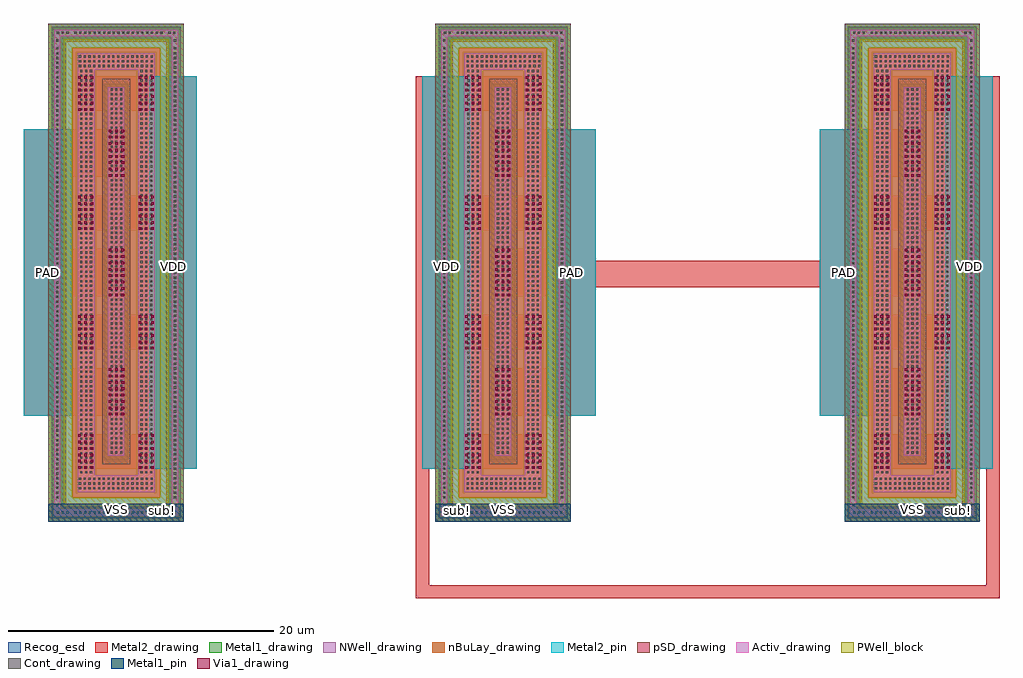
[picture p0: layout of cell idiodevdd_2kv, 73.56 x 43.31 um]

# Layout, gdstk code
import gdstk
lib = gdstk.Library(unit=1e-6, precision=1e-09)
def R(c, l, rs):  # rectangles x0, y0, x1, y1
    for r in rs: c.add(gdstk.rectangle(r[:2], r[2:], *l))
def A(c, l, x, y, w, h, nx, ny, dx, dy):  # array of equal rectangles
    R(c, l, [(x+i*dx, y+j*dy, x+i*dx+w, y+j*dy+h) for i in range(nx) for j in range(ny)])
def P(c, l, *ps):  # polygons
    for p in ps: c.add(gdstk.Polygon(p, *l))
Activ_drawing = (1, 0)
Cont_drawing = (6, 0)
Metal1_drawing = (8, 0)
Metal1_pin = (8, 2)
Metal2_drawing = (10, 0)
Metal2_pin = (10, 2)
pSD_drawing = (14, 0)
Via1_drawing = (19, 0)
NWell_drawing = (31, 0)
nBuLay_drawing = (32, 0)
PWell_block = (46, 21)
Recog_esd = (99, 30)

idiodevdd_2kv = lib.new_cell('idiodevdd_2kv')
R(idiodevdd_2kv, Activ_drawing, [(4.47,4.97,5.73,32.75), (33.637,4.97,34.897,32.75), (64.47,4.97,65.73,32.75)])
P(idiodevdd_2kv, Activ_drawing, [(31.357,2.22),(31.357,35.31),(37.147,35.31),(37.147,3.48),(35.887,3.48),(35.887,34.05),(32.617,34.05),(32.617,3.48),(37.147,3.48),(37.147,2.22)],
  [(29.587,0.45),(29.587,37.08),(38.947,37.08),(38.947,0.93),(38.467,0.93),(38.467,36.6),(30.067,36.6),(30.067,0.93),(38.947,0.93),(38.947,0.45)],
  [(62.22,2.22),(62.22,3.48),(66.75,3.48),(66.75,34.05),(63.48,34.05),(63.48,3.48),(62.22,3.48),(62.22,35.31),(68.01,35.31),(68.01,2.22)],
  [(60.42,0.45),(60.42,0.93),(69.3,0.93),(69.3,36.6),(60.9,36.6),(60.9,0.93),(60.42,0.93),(60.42,37.08),(69.78,37.08),(69.78,0.45)],
  [(2.22,2.22),(2.22,3.48),(6.75,3.48),(6.75,34.05),(3.48,34.05),(3.48,3.48),(2.22,3.48),(2.22,35.31),(8.01,35.31),(8.01,2.22)],
  [(0.42,0.45),(0.42,0.93),(9.3,0.93),(9.3,36.6),(0.9,36.6),(0.9,0.93),(0.42,0.93),(0.42,37.08),(9.78,37.08),(9.78,0.45)])
A(idiodevdd_2kv, Cont_drawing, 0.64, 0.61, 0.16, 0.16, 3, 2, 0.36, 36.15)
A(idiodevdd_2kv, Cont_drawing, 1.96, 0.61, 0.16, 0.16, 18, 1, 0.36, 0)
A(idiodevdd_2kv, Cont_drawing, 8.68, 0.61, 0.16, 0.16, 3, 1, 0.36, 0)
A(idiodevdd_2kv, Cont_drawing, 29.807, 0.61, 0.16, 0.16, 3, 1, 0.36, 0)
A(idiodevdd_2kv, Cont_drawing, 31.127, 0.61, 0.16, 0.16, 18, 1, 0.36, 0)
A(idiodevdd_2kv, Cont_drawing, 37.847, 0.61, 0.16, 0.16, 3, 2, 0.36, 36.15)
A(idiodevdd_2kv, Cont_drawing, 60.64, 0.61, 0.16, 0.16, 3, 2, 0.36, 36.15)
A(idiodevdd_2kv, Cont_drawing, 61.96, 0.61, 0.16, 0.16, 18, 1, 0.36, 0)
A(idiodevdd_2kv, Cont_drawing, 68.68, 0.61, 0.16, 0.16, 3, 1, 0.36, 0)
A(idiodevdd_2kv, Cont_drawing, 0.58, 1.745, 0.16, 0.16, 1, 95, 0, 0.36)
A(idiodevdd_2kv, Cont_drawing, 9.46, 1.745, 0.16, 0.16, 1, 95, 0, 0.36)
A(idiodevdd_2kv, Cont_drawing, 29.747, 1.745, 0.16, 0.16, 1, 95, 0, 0.36)
A(idiodevdd_2kv, Cont_drawing, 38.627, 1.745, 0.16, 0.16, 1, 95, 0, 0.36)
A(idiodevdd_2kv, Cont_drawing, 60.58, 1.745, 0.16, 0.16, 1, 95, 0, 0.36)
A(idiodevdd_2kv, Cont_drawing, 69.46, 1.745, 0.16, 0.16, 1, 95, 0, 0.36)
A(idiodevdd_2kv, Cont_drawing, 2.295, 2.43, 0.16, 0.16, 16, 3, 0.36, 0.36)
A(idiodevdd_2kv, Cont_drawing, 31.512, 2.43, 0.16, 0.16, 16, 3, 0.36, 0.36)
A(idiodevdd_2kv, Cont_drawing, 62.295, 2.43, 0.16, 0.16, 16, 3, 0.36, 0.36)
A(idiodevdd_2kv, Cont_drawing, 2.405, 3.645, 0.16, 0.16, 3, 85, 0.36, 0.36)
A(idiodevdd_2kv, Cont_drawing, 6.935, 3.645, 0.16, 0.16, 3, 85, 0.36, 0.36)
A(idiodevdd_2kv, Cont_drawing, 31.552, 3.645, 0.16, 0.16, 3, 85, 0.36, 0.36)
A(idiodevdd_2kv, Cont_drawing, 36.082, 3.645, 0.16, 0.16, 3, 85, 0.36, 0.36)
A(idiodevdd_2kv, Cont_drawing, 62.405, 3.645, 0.16, 0.16, 3, 85, 0.36, 0.36)
A(idiodevdd_2kv, Cont_drawing, 66.935, 3.645, 0.16, 0.16, 3, 85, 0.36, 0.36)
A(idiodevdd_2kv, Cont_drawing, 4.68, 5.13, 0.16, 0.16, 3, 77, 0.36, 0.36)
A(idiodevdd_2kv, Cont_drawing, 33.807, 5.13, 0.16, 0.16, 3, 77, 0.36, 0.36)
A(idiodevdd_2kv, Cont_drawing, 64.68, 5.13, 0.16, 0.16, 3, 77, 0.36, 0.36)
A(idiodevdd_2kv, Cont_drawing, 2.295, 34.26, 0.16, 0.16, 16, 3, 0.36, 0.36)
A(idiodevdd_2kv, Cont_drawing, 31.512, 34.26, 0.16, 0.16, 16, 3, 0.36, 0.36)
A(idiodevdd_2kv, Cont_drawing, 62.295, 34.26, 0.16, 0.16, 16, 3, 0.36, 0.36)
A(idiodevdd_2kv, Cont_drawing, 1.96, 36.76, 0.16, 0.16, 19, 1, 0.36, 0)
A(idiodevdd_2kv, Cont_drawing, 30.767, 36.76, 0.16, 0.16, 19, 1, 0.36, 0)
A(idiodevdd_2kv, Cont_drawing, 61.96, 36.76, 0.16, 0.16, 19, 1, 0.36, 0)
R(idiodevdd_2kv, Cont_drawing, [(0.58,1.145,0.74,1.305), (9.46,1.145,9.62,1.305), (29.747,1.145,29.907,1.305), (38.627,1.145,38.787,1.305), (60.58,1.145,60.74,1.305), (69.46,1.145,69.62,1.305), (0.58,36.185,0.74,36.345), (9.46,36.185,9.62,36.345), (29.747,36.185,29.907,36.345), (38.627,36.185,38.787,36.345), (60.58,36.185,60.74,36.345), (69.46,36.185,69.62,36.345), (9.04,36.76,9.2,36.92), (9.4,36.76,9.56,36.92), (29.807,36.76,29.967,36.92), (30.167,36.76,30.327,36.92), (69.04,36.76,69.2,36.92), (69.4,36.76,69.56,36.92)])
R(idiodevdd_2kv, Metal1_drawing, [(4.2,4.67,6,33.02), (33.367,4.67,35.167,33.02), (64.2,4.67,66,33.02)])
P(idiodevdd_2kv, Metal1_drawing, [(31.207,2.13),(31.207,35.4),(37.297,35.4),(37.297,3.54),(35.767,3.54),(35.767,33.99),(32.767,33.99),(32.767,3.54),(37.297,3.54),(37.297,2.13)],
  [(29.167,0),(29.167,37.53),(39.367,37.53),(39.367,1.35),(38.017,1.35),(38.017,36.18),(30.487,36.18),(30.487,1.35),(39.367,1.35),(39.367,0)],
  [(62.07,2.13),(62.07,3.54),(66.6,3.54),(66.6,33.99),(63.6,33.99),(63.6,3.54),(62.07,3.54),(62.07,35.4),(68.16,35.4),(68.16,2.13)],
  [(60,0),(60,1.35),(68.88,1.35),(68.88,36.18),(61.35,36.18),(61.35,1.35),(60,1.35),(60,37.53),(70.2,37.53),(70.2,0)],
  [(2.07,2.13),(2.07,3.54),(6.6,3.54),(6.6,33.99),(3.6,33.99),(3.6,3.54),(2.07,3.54),(2.07,35.4),(8.16,35.4),(8.16,2.13)],
  [(0,0),(0,1.35),(8.88,1.35),(8.88,36.18),(1.35,36.18),(1.35,1.35),(0,1.35),(0,37.53),(10.2,37.53),(10.2,0)])
R(idiodevdd_2kv, Metal1_pin, [(0,0,10.2,1.35), (29.167,0,39.367,1.35), (60,0,70.2,1.35)])
P(idiodevdd_2kv, Metal2_drawing, [(28.187,3.975),(28.187,33.575),(37.187,33.575),(37.187,30.975),(31.787,30.975),(31.787,24.575),(37.187,24.575),(37.187,21.975),(31.787,21.975),(31.787,15.575),(37.187,15.575),(37.187,12.975),(31.787,12.975),(31.787,6.575),(37.187,6.575),(37.187,3.975)],
  [(33.622,7.995),(33.622,11.555),(37.647,11.555),(37.647,16.995),(33.622,16.995),(33.622,20.555),(37.647,20.555),(37.647,25.995),(33.622,25.995),(33.622,29.555),(41.247,29.555),(41.247,7.995)],
  [(62.18,3.975),(62.18,6.575),(67.58,6.575),(67.58,12.975),(62.18,12.975),(62.18,15.575),(67.58,15.575),(67.58,21.975),(62.18,21.975),(62.18,24.575),(67.58,24.575),(67.58,30.975),(62.18,30.975),(62.18,33.575),(71.18,33.575),(71.18,3.975)],
  [(58.12,7.995),(58.12,29.555),(65.745,29.555),(65.745,25.995),(61.72,25.995),(61.72,20.555),(65.745,20.555),(65.745,16.995),(61.72,16.995),(61.72,11.555),(65.745,11.555),(65.745,7.995)],
  [(2.18,3.975),(2.18,6.575),(7.58,6.575),(7.58,12.975),(2.18,12.975),(2.18,15.575),(7.58,15.575),(7.58,21.975),(2.18,21.975),(2.18,24.575),(7.58,24.575),(7.58,30.975),(2.18,30.975),(2.18,33.575),(11.18,33.575),(11.18,3.975)],
  [(-1.88,7.995),(-1.88,29.555),(5.745,29.555),(5.745,25.995),(1.72,25.995),(1.72,20.555),(5.745,20.555),(5.745,16.995),(1.72,16.995),(1.72,11.555),(5.745,11.555),(5.745,7.995)])
R(idiodevdd_2kv, Metal2_pin, [(7.58,3.975,11.18,33.575), (28.187,3.975,31.787,33.575), (67.58,3.975,71.18,33.575), (-1.88,7.995,1.72,29.555), (37.647,7.995,41.247,29.555), (58.12,7.995,61.72,29.555)])
R(idiodevdd_2kv, pSD_drawing, [(4.05,4.31,6.15,33.38), (33.217,4.31,35.317,33.38), (64.05,4.31,66.15,33.38)])
P(idiodevdd_2kv, pSD_drawing, [(29.167,0),(29.167,37.53),(39.367,37.53),(39.367,1.35),(38.017,1.35),(38.017,36.18),(30.487,36.18),(30.487,1.35),(39.367,1.35),(39.367,0)],
  [(60,0),(60,1.35),(68.88,1.35),(68.88,36.18),(61.35,36.18),(61.35,1.35),(60,1.35),(60,37.53),(70.2,37.53),(70.2,0)],
  [(0,0),(0,1.35),(8.88,1.35),(8.88,36.18),(1.35,36.18),(1.35,1.35),(0,1.35),(0,37.53),(10.2,37.53),(10.2,0)])
A(idiodevdd_2kv, Via1_drawing, 2.23, 3.98, 0.19, 0.19, 3, 6, 0.48, 0.48)
A(idiodevdd_2kv, Via1_drawing, 6.79, 3.98, 0.19, 0.19, 3, 6, 0.48, 0.48)
A(idiodevdd_2kv, Via1_drawing, 31.427, 3.98, 0.19, 0.19, 3, 6, 0.48, 0.48)
A(idiodevdd_2kv, Via1_drawing, 35.987, 3.98, 0.19, 0.19, 3, 6, 0.48, 0.48)
A(idiodevdd_2kv, Via1_drawing, 62.23, 3.98, 0.19, 0.19, 3, 6, 0.48, 0.48)
A(idiodevdd_2kv, Via1_drawing, 66.79, 3.98, 0.19, 0.19, 3, 6, 0.48, 0.48)
A(idiodevdd_2kv, Via1_drawing, 4.545, 8, 0.19, 0.19, 3, 8, 0.48, 0.48)
A(idiodevdd_2kv, Via1_drawing, 33.672, 8, 0.19, 0.19, 3, 8, 0.48, 0.48)
A(idiodevdd_2kv, Via1_drawing, 64.545, 8, 0.19, 0.19, 3, 8, 0.48, 0.48)
A(idiodevdd_2kv, Via1_drawing, 2.23, 12.98, 0.19, 0.19, 3, 6, 0.48, 0.48)
A(idiodevdd_2kv, Via1_drawing, 6.79, 12.98, 0.19, 0.19, 3, 6, 0.48, 0.48)
A(idiodevdd_2kv, Via1_drawing, 31.427, 12.98, 0.19, 0.19, 3, 6, 0.48, 0.48)
A(idiodevdd_2kv, Via1_drawing, 35.987, 12.98, 0.19, 0.19, 3, 6, 0.48, 0.48)
A(idiodevdd_2kv, Via1_drawing, 62.23, 12.98, 0.19, 0.19, 3, 6, 0.48, 0.48)
A(idiodevdd_2kv, Via1_drawing, 66.79, 12.98, 0.19, 0.19, 3, 6, 0.48, 0.48)
A(idiodevdd_2kv, Via1_drawing, 4.545, 17, 0.19, 0.19, 3, 8, 0.48, 0.48)
A(idiodevdd_2kv, Via1_drawing, 33.672, 17, 0.19, 0.19, 3, 8, 0.48, 0.48)
A(idiodevdd_2kv, Via1_drawing, 64.545, 17, 0.19, 0.19, 3, 8, 0.48, 0.48)
A(idiodevdd_2kv, Via1_drawing, 2.23, 21.98, 0.19, 0.19, 3, 6, 0.48, 0.48)
A(idiodevdd_2kv, Via1_drawing, 6.79, 21.98, 0.19, 0.19, 3, 6, 0.48, 0.48)
A(idiodevdd_2kv, Via1_drawing, 31.427, 21.98, 0.19, 0.19, 3, 6, 0.48, 0.48)
A(idiodevdd_2kv, Via1_drawing, 35.987, 21.98, 0.19, 0.19, 3, 6, 0.48, 0.48)
A(idiodevdd_2kv, Via1_drawing, 62.23, 21.98, 0.19, 0.19, 3, 6, 0.48, 0.48)
A(idiodevdd_2kv, Via1_drawing, 66.79, 21.98, 0.19, 0.19, 3, 6, 0.48, 0.48)
A(idiodevdd_2kv, Via1_drawing, 4.545, 26, 0.19, 0.19, 3, 8, 0.48, 0.48)
A(idiodevdd_2kv, Via1_drawing, 33.672, 26, 0.19, 0.19, 3, 8, 0.48, 0.48)
A(idiodevdd_2kv, Via1_drawing, 64.545, 26, 0.19, 0.19, 3, 8, 0.48, 0.48)
A(idiodevdd_2kv, Via1_drawing, 2.23, 30.98, 0.19, 0.19, 3, 6, 0.48, 0.48)
A(idiodevdd_2kv, Via1_drawing, 6.79, 30.98, 0.19, 0.19, 3, 6, 0.48, 0.48)
A(idiodevdd_2kv, Via1_drawing, 31.427, 30.98, 0.19, 0.19, 3, 6, 0.48, 0.48)
A(idiodevdd_2kv, Via1_drawing, 35.987, 30.98, 0.19, 0.19, 3, 6, 0.48, 0.48)
A(idiodevdd_2kv, Via1_drawing, 62.23, 30.98, 0.19, 0.19, 3, 6, 0.48, 0.48)
A(idiodevdd_2kv, Via1_drawing, 66.79, 30.98, 0.19, 0.19, 3, 6, 0.48, 0.48)
R(idiodevdd_2kv, NWell_drawing, [(1.8,1.8,8.43,35.73), (30.937,1.8,37.567,35.73), (61.8,1.8,68.43,35.73)])
R(idiodevdd_2kv, nBuLay_drawing, [(1.8,1.8,8.43,35.73), (30.937,1.8,37.567,35.73), (61.8,1.8,68.43,35.73)])
P(idiodevdd_2kv, PWell_block, [(30.307,1.17),(30.307,36.36),(38.227,36.36),(38.227,1.17),(37.567,1.17),(37.567,35.73),(30.937,35.73),(30.937,1.8),(37.567,1.8),(37.567,1.17)],
  [(61.14,1.17),(61.14,36.36),(69.06,36.36),(69.06,1.17),(61.8,1.17),(61.8,1.8),(68.43,1.8),(68.43,35.73),(61.8,35.73),(61.8,1.17)],
  [(1.14,1.17),(1.14,36.36),(9.06,36.36),(9.06,1.17),(1.8,1.17),(1.8,1.8),(8.43,1.8),(8.43,35.73),(1.8,35.73),(1.8,1.17)])
R(idiodevdd_2kv, Recog_esd, [(0.24,0.24,9.96,37.29), (29.407,0.24,39.127,37.29), (60.24,0.24,69.96,37.29)])
idiodevdd_2kv.add(gdstk.FlexPath([(60,18.658),(39.367,18.658)], 2, ends="flush", simple_path=True, layer=10, datatype=0))  # Metal2_drawing
idiodevdd_2kv.add(gdstk.FlexPath([(28.19,33.58),(28.19,-5.28),(71.18,-5.28),(71.18,33.58)], 1, ends="flush", simple_path=True, layer=10, datatype=0))  # Metal2_drawing
idiodevdd_2kv.add(gdstk.Label('VDD', (29.977,19.23), layer=63, texttype=0))
idiodevdd_2kv.add(gdstk.Label('PAD', (39.447,18.775), layer=63, texttype=0))
idiodevdd_2kv.add(gdstk.Label('VSS', (34.267,0.915), layer=63, texttype=0))
idiodevdd_2kv.add(gdstk.Label('sub!', (30.797,0.865), layer=63, texttype=0))
idiodevdd_2kv.add(gdstk.Label('idiodevdd_2kv', (32.827,18.67), layer=63, texttype=0))
idiodevdd_2kv.add(gdstk.Label('VDD', (69.39,19.23), layer=63, texttype=0))
idiodevdd_2kv.add(gdstk.Label('PAD', (59.92,18.775), layer=63, texttype=0))
idiodevdd_2kv.add(gdstk.Label('VSS', (65.1,0.915), layer=63, texttype=0))
idiodevdd_2kv.add(gdstk.Label('sub!', (68.57,0.865), layer=63, texttype=0))
idiodevdd_2kv.add(gdstk.Label('idiodevdd_2kv', (66.54,18.67), layer=63, texttype=0))
idiodevdd_2kv.add(gdstk.Label('VDD', (9.39,19.23), layer=63, texttype=0))
idiodevdd_2kv.add(gdstk.Label('PAD', (-0.08,18.775), layer=63, texttype=0))
idiodevdd_2kv.add(gdstk.Label('VSS', (5.1,0.915), layer=63, texttype=0))
idiodevdd_2kv.add(gdstk.Label('sub!', (8.57,0.865), layer=63, texttype=0))
idiodevdd_2kv.add(gdstk.Label('idiodevdd_2kv', (6.54,18.67), layer=63, texttype=0))

lib.write_gds('idiodevdd_2kv.gds')
